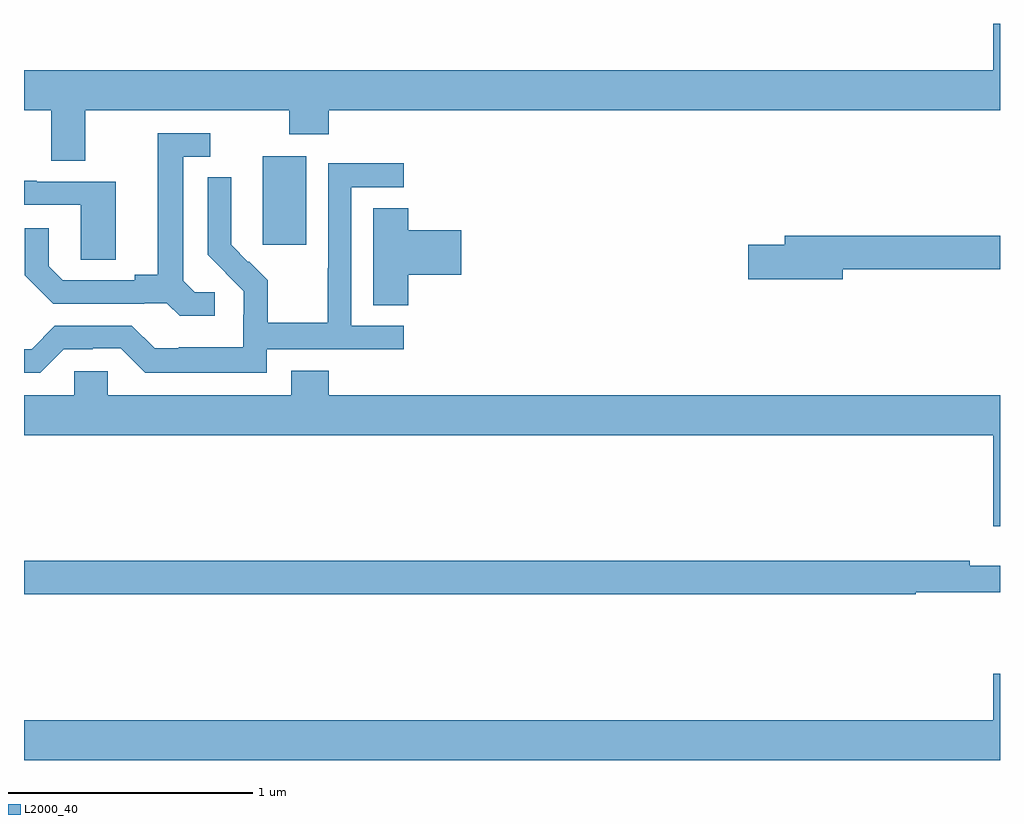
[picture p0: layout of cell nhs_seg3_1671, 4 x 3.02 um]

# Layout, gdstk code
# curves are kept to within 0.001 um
import gdstk
lib = gdstk.Library(unit=1e-6, precision=1e-09)
def R(c, l, rs):  # rectangles x0, y0, x1, y1
    for r in rs: c.add(gdstk.rectangle(r[:2], r[2:], *l))
def P(c, l, *ps):  # polygons
    for p in ps: c.add(gdstk.Polygon(p, *l))
L2000_40 = (2000, 40)

nhs_seg3_1671 = lib.new_cell('nhs_seg3_1671')
R(nhs_seg3_1671, L2000_40, [(197.978,715.017,198.157,715.378)])
P(nhs_seg3_1671, L2000_40, [(197.251,715.568),(198.088,715.568),(198.088,715.469),(198.248,715.469),(198.248,715.568),(201,715.568),(201,715.921),(200.972,715.921),(200.972,715.732),(197,715.732),(197,715.568),(197.111,715.568),(197.111,715.36),(197.251,715.36)],
  [(197.782,714.822),(197.7,714.822),(197.653,714.869),(197.653,715.377),(197.764,715.377),(197.764,715.473),(197.549,715.473),(197.549,714.893),(197.453,714.893),(197.453,714.87),(197.158,714.87),(197.101,714.927),(197.101,715.084),(197.004,715.084),(197.004,714.89),(197.12,714.774),(197.492,714.774),(197.492,714.777),(197.586,714.777),(197.638,714.725),(197.782,714.725)],
  [(197.994,714.588),(198.556,714.588),(198.556,714.684),(198.342,714.684),(198.342,715.251),(198.556,715.251),(198.556,715.35),(198.246,715.35),(198.246,714.92),(198.244,714.92),(198.244,714.697),(197.999,714.697),(197.999,714.871),(197.922,714.948),(197.919,714.945),(197.849,715.016),(197.85,715.292),(197.754,715.292),(197.754,714.974),(197.9,714.826),(197.9,714.729),(197.898,714.729),(197.898,714.595),(197.635,714.595),(197.635,714.591),(197.535,714.591),(197.442,714.684),(197.127,714.684),(197.031,714.588),(197,714.588),(197,714.492),(197.067,714.492),(197.163,714.588),(197.282,714.588),(197.282,714.591),(197.397,714.591),(197.497,714.491),(197.994,714.491)],
  [(197.377,715.275),(197.053,715.275),(197.053,715.279),(197,715.279),(197,715.179),(197.232,715.179),(197.232,714.955),(197.377,714.955)],
  [(198.575,714.893),(198.793,714.893),(198.793,715.076),(198.575,715.076),(198.575,715.166),(198.431,715.166),(198.431,714.769),(198.575,714.769)],
  [(200.356,714.916),(201,714.916),(201,715.052),(200.117,715.052),(200.117,715.016),(199.968,715.016),(199.968,714.874),(200.356,714.874)],
  [(201,714.4),(198.248,714.4),(198.248,714.499),(198.095,714.499),(198.095,714.4),(197.343,714.4),(197.343,714.498),(197.205,714.498),(197.205,714.4),(197,714.4),(197,714.236),(200.972,714.236),(200.972,713.862),(201,713.862)],
  [(200.655,713.592),(201,713.592),(201,713.701),(200.876,713.701),(200.876,713.72),(197,713.72),(197,713.584),(200.655,713.584)],
  [(201,713.257),(200.972,713.257),(200.972,713.068),(197,713.068),(197,712.904),(201,712.904)])

lib.write_gds('nhs_seg3_1671.gds')
